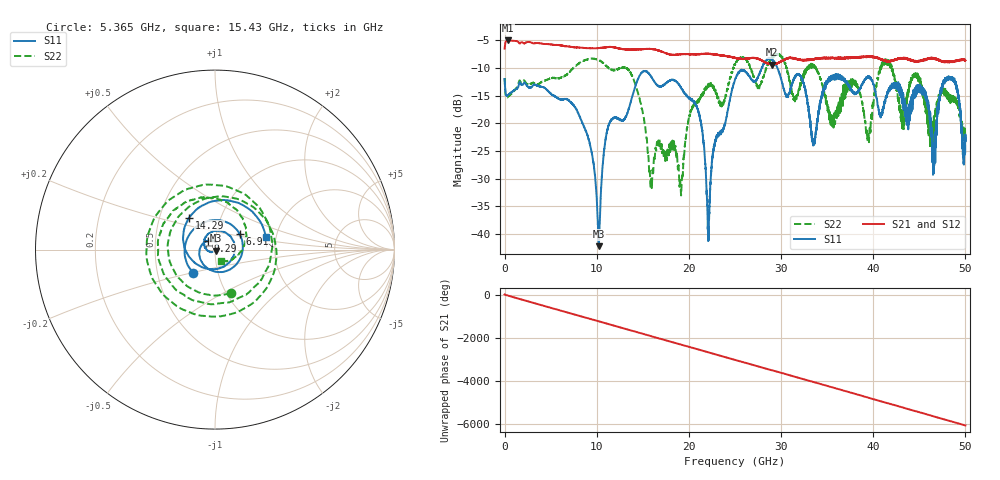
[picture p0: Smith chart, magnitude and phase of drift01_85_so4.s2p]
!Created with skrf (http://scikit-rf.org).
# Hz S RI R 50.0
!freq ReS11 ImS11 ReS21 ImS21 ReS12 ImS12 ReS22 ImS22
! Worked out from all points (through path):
!   10001 points, 300 kHz to 50 GHz, reference 50 ohm
!   highest |S21| = -5.05 dB at 325.3 MHz (marker M1); lowest = -9.4 dB at 28.99 GHz (marker M2)
!   group delay of S21, straight-line fit = 336 ps
!   lowest |S11| = -42.2 dB at 10.22 GHz (marker M3), VSWR 1.02, Z = 50.5 - j0.569 ohm
!   |S11| at or under -10 dB: start of sweep to 27.9 GHz; 29.59 GHz to end of sweep
!   |S22| runs from -33.0 to -7.5 dB; largest |S21 - S12| = 0.014
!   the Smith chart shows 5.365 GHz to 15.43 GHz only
!   S11 on the Smith chart (normalised r, x): 5.365 GHz: 0.76, -0.20; 6.91 GHz: 1.30, +0.23; 9.29 GHz: 0.92, +0.09; 14.29 GHz: 0.71, +0.27; 15.43 GHz: 1.77, +0.27
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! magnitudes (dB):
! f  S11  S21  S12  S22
! 300 kHz  -12.0  -6.5  -6.6  -11.8
! 325.3 MHz  -15.0  -5.1  -5.1  -15.3
! 5.365 GHz  -15.0  -5.8  -5.8  -11.8
! 6.91 GHz  -15.8  -6.1  -6.1  -11.0
! 8.335 GHz  -19.5  -6.4  -6.4  -8.9
! 9.29 GHz  -24.0  -6.4  -6.5  -8.3
! 10.22 GHz  -42.2  -6.4  -6.4  -8.6
! 11.23 GHz  -20.7  -6.2  -6.2  -9.9
! 14.29 GHz  -12.8  -6.7  -6.7  -13.5
! 15.43 GHz  -10.7  -6.6  -6.6  -22.9
! 16.67 GHz  -13.3  -6.9  -6.9  -23.3
! 19.15 GHz  -13.6  -7.6  -7.6  -33.0
! 20.86 GHz  -17.1  -7.6  -7.5  -16.1
! 22.12 GHz  -41.2  -7.5  -7.5  -13.4
! 25 GHz  -12.1  -8.2  -8.2  -9.4
! 28.99 GHz  -8.5  -9.4  -9.4  -8.1
! 33.34 GHz  -22.6  -8.5  -8.5  -9.6
! 39.46 GHz  -11.6  -8.0  -8.0  -21.8
! 41.67 GHz  -13.9  -8.7  -8.7  -9.3
! 46.56 GHz  -25.9  -8.2  -8.3  -19.8
! 48.55 GHz  -11.9  -8.8  -8.9  -16.0
! 50 GHz  -23.2  -8.6  -8.6  -23.3
